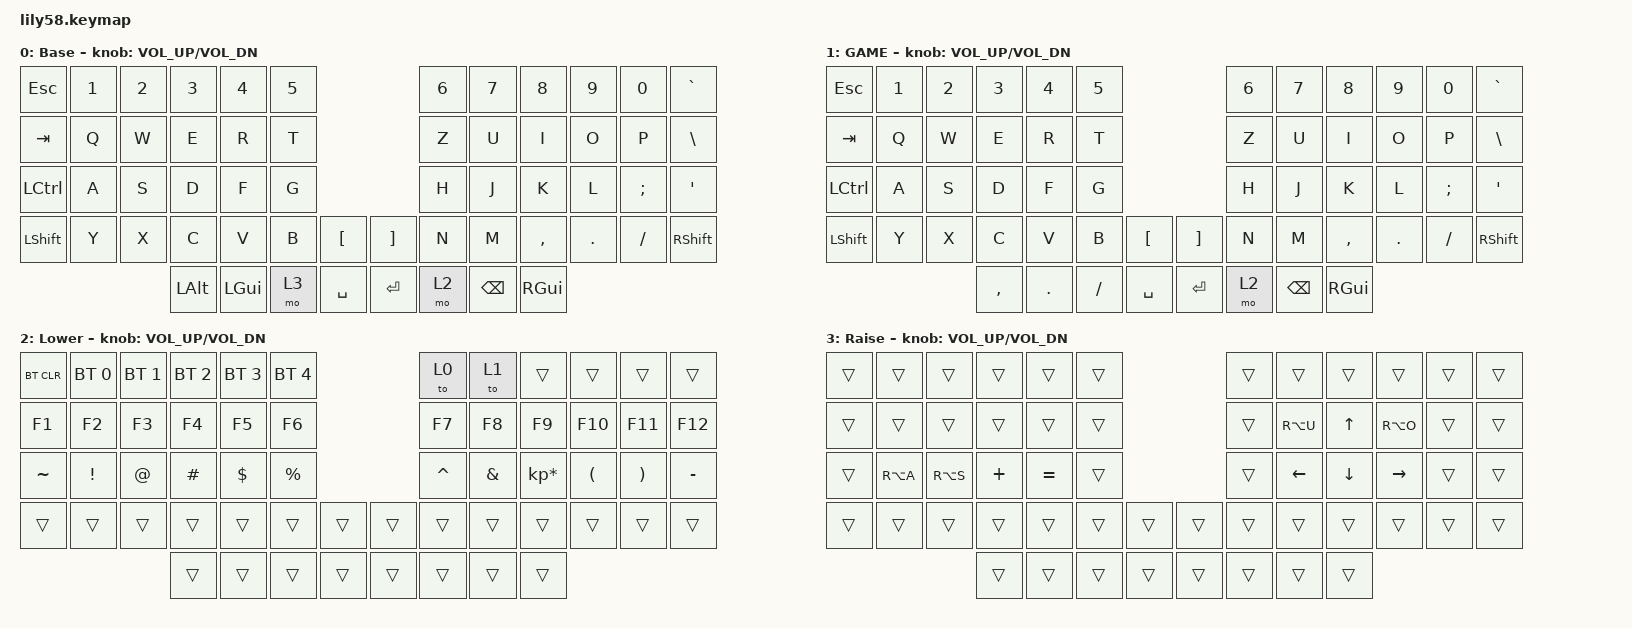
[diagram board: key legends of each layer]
/*
 * Copyright (c) 2020 The ZMK Contributors
 *
 * SPDX-License-Identifier: MIT
 */

#include <behaviors.dtsi>
#include <dt-bindings/zmk/bt.h>
#include <dt-bindings/zmk/keys.h>

/ {
    keymap {
        compatible = "zmk,keymap";

        default_layer {
            // ------------------------------------------------------------------------------------------------------------
            // |  ESC  |  1  |  2  |  3   |  4   |  5   |                   |  6   |  7    |  8    |  9   |   0   |   `   |
            // |  TAB  |  Q  |  W  |  E   |  R   |  T   |                   |  Y   |  U    |  I    |  O   |   P   |   -   |
            // |  CTRL |  A  |  S  |  D   |  F   |  G   |                   |  H   |  J    |  K    |  L   |   ;   |   '   |
            // | SHIFT |  Z  |  X  |  C   |  V   |  B   |   "["  |  |  "]"  |  N   |  M    |  ,    |  .   |   /   | SHIFT |
            //                     | ALT  | GUI  | LOWER|  SPACE |  | ENTER | RAISE| BSPC  | GUI   |

            display-name = "Base";
            bindings = <
&kp ESC    &kp N1  &kp N2  &kp N3    &kp N4    &kp N5                         &kp N6  &kp N7    &kp N8     &kp N9   &kp N0    &kp GRAVE
&kp TAB    &kp Q   &kp W   &kp E     &kp R     &kp T                          &kp Z   &kp U     &kp I      &kp O    &kp P     &kp BACKSLASH
&kp LCTRL  &kp A   &kp S   &kp D     &kp F     &kp G                          &kp H   &kp J     &kp K      &kp L    &kp SEMI  &kp SQT
&kp LSHFT  &kp Y   &kp X   &kp C     &kp V     &kp B   &kp LBKT     &kp RBKT  &kp N   &kp M     &kp COMMA  &kp DOT  &kp FSLH  &kp RSHFT
                           &kp LALT  &kp LGUI  &mo 3   &kp SPACE    &kp RET   &mo 2   &kp BSPC  &kp RGUI
            >;

            sensor-bindings = <&inc_dec_kp C_VOL_UP C_VOL_DN>;
        };

        GAME_LAYER {
            display-name = "GAME";
            bindings = <
&kp ESC    &kp N1  &kp N2  &kp N3     &kp N4   &kp N5                           &kp N6  &kp N7    &kp N8     &kp N9   &kp N0    &kp GRAVE
&kp TAB    &kp Q   &kp W   &kp E      &kp R    &kp T                            &kp Z   &kp U     &kp I      &kp O    &kp P     &kp BACKSLASH
&kp LCTRL  &kp A   &kp S   &kp D      &kp F    &kp G                            &kp H   &kp J     &kp K      &kp L    &kp SEMI  &kp SQT
&kp LSHFT  &kp Y   &kp X   &kp C      &kp V    &kp B     &kp LBKT     &kp RBKT  &kp N   &kp M     &kp COMMA  &kp DOT  &kp FSLH  &kp RSHFT
                           &kp COMMA  &kp DOT  &kp FSLH  &kp SPACE    &kp RET   &mo 2   &kp BSPC  &kp RGUI
            >;

            sensor-bindings = <&inc_dec_kp C_VOL_UP C_VOL_DN>;
        };

        lower_layer {
            // ------------------------------------------------------------------------------------------------------------
            // | BTCLR | BT1 | BT2 |  BT3 |  BT4 |  BT5 |                   |      |       |       |      |       |       |
            // |  F1   |  F2 |  F3 |  F4  |  F5  |  F6  |                   |  F7  |  F8   |  F9   |  F10 |  F11  |  F12  |
            // |   `   |  !  |  @  |  #   |  $   |  %   |                   |  ^   |  &    |  *    |  (   |   )   |   ~   |
            // |       |     |     |      |      |      |        |  |       |      |  _    |  +    |  {   |   }   |  "|"  |
            //                     |      |      |      |        |  |       |      |       |       |

            display-name = "Lower";
            bindings = <
&bt BT_CLR  &bt BT_SEL 0  &bt BT_SEL 1  &bt BT_SEL 2  &bt BT_SEL 3  &bt BT_SEL 4                    &to 0      &to 1     &trans           &trans    &trans    &trans
&kp F1      &kp F2        &kp F3        &kp F4        &kp F5        &kp F6                          &kp F7     &kp F8    &kp F9           &kp F10   &kp F11   &kp F12
&kp TILDE   &kp EXCL      &kp AT        &kp HASH      &kp DOLLAR    &kp PERCENT                     &kp CARET  &kp AMPS  &kp KP_MULTIPLY  &kp LPAR  &kp RPAR  &kp MINUS
&trans      &trans        &trans        &trans        &trans        &trans        &trans    &trans  &trans     &trans    &trans           &trans    &trans    &trans
                                        &trans        &trans        &trans        &trans    &trans  &trans     &trans    &trans
            >;

            sensor-bindings = <&inc_dec_kp C_VOL_UP C_VOL_DN>;
        };

        raise_layer {
            // ------------------------------------------------------------------------------------------------------------
            // |       |     |     |      |      |      |                   |      |       |       |      |       |       |
            // |   `   |  1  |  2  |  3   |  4   |  5   |                   |  6   |   7   |   8   |  9   |   0   |       |
            // |   F1  |  F2 |  F3 |  F4  |  F5  |  F6  |                   |      |   <-  |   v   |  ^   |  ->   |       |
            // |   F7  |  F8 |  F9 |  F10 |  F11 |  F12 |        |  |       |  +   |   -   |   =   |  [   |   ]   |   \   |
            //                     |      |      |      |        |  |       |      |       |       |

            display-name = "Raise";
            bindings = <
&trans  &trans     &trans     &trans    &trans     &trans                    &trans  &trans          &trans          &trans     &trans  &trans
&trans  &trans     &trans     &trans    &trans     &trans                    &trans  &kp RA(U)       &kp UP_ARROW    &kp RA(O)  &trans  &trans
&trans  &kp RA(A)  &kp RA(S)  &kp PLUS  &kp EQUAL  &trans                    &trans  &kp LEFT_ARROW  &kp DOWN_ARROW  &kp RIGHT  &trans  &trans
&trans  &trans     &trans     &trans    &trans     &trans  &trans    &trans  &trans  &trans          &trans          &trans     &trans  &trans
                              &trans    &trans     &trans  &trans    &trans  &trans  &trans          &trans
            >;

            sensor-bindings = <&inc_dec_kp C_VOL_UP C_VOL_DN>;
        };
    };
};
